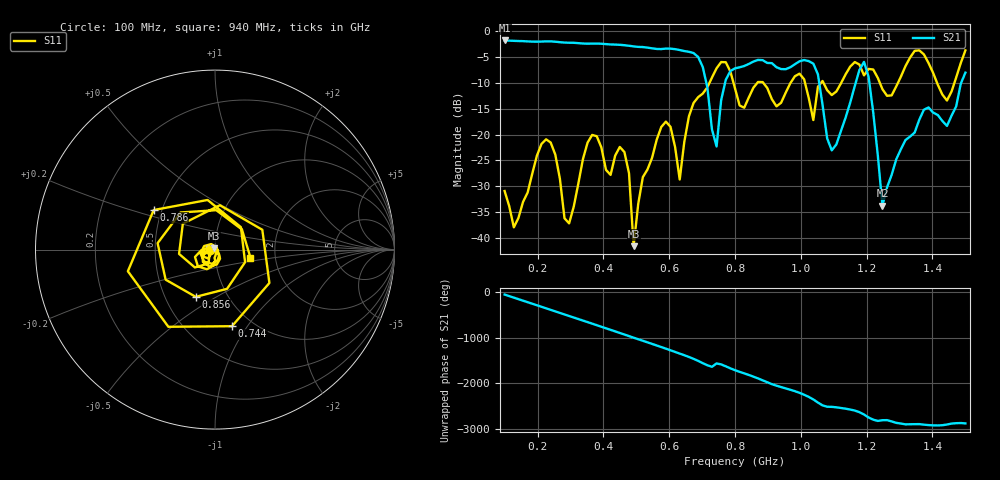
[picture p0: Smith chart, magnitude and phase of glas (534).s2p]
! NanoVNA-App
! Date: 2025-09-25 15:59:38
! Start: 100MHz Stop: 1,5GHz Points: 101
! S-Parameter data: F S11 S21 S12 S22
# Hz S RI R 50
!  Frequency  S11_Real  S11_Imag  S21_Real  S21_Imag  S12_Real  S12_Imag  S22_Real  S22_Imag
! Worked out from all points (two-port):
!   101 points, 100 MHz to 1.5 GHz, reference 50 ohm
!   highest |S21| = -1.80 dB at 100 MHz (marker M1); lowest = -33.8 dB at 1.248 GHz (marker M2)
!   |S21| within 3 dB of the highest: start of sweep to 684.5 MHz
!   lowest |S11| = -41.6 dB at 492 MHz (marker M3), VSWR 1.02, Z = 49.5 + j0.629 ohm
!   |S11| at or under -10 dB: start of sweep to 722.5 MHz; 795.4 MHz to 868 MHz (72.56 MHz wide, 8.72 % of centre); 885.9 MHz to 968.8 MHz (82.96 MHz wide, 8.95 % of centre) (the widest 3 of 7)
!   S12 and S22 are empty: the file has one direction only
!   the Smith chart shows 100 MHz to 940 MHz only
!   S11 on the Smith chart (normalised r, x): 100 MHz: 0.95, -0.01; 744 MHz: 0.81, -0.85; 786 MHz: 0.45, +0.24; 856 MHz: 0.71, -0.41; 940 MHz: 1.48, -0.14
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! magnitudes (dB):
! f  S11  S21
! 100 MHz  -30.9  -1.8
! 128 MHz  -38.0  -1.9
! 226 MHz  -20.9  -2.0
! 296 MHz  -37.2  -2.2
! 338 MHz  -24.8  -2.4
! 464 MHz  -23.4  -2.7
! 492 MHz  -41.6  -2.9
! 576 MHz  -18.5  -3.5
! 632 MHz  -28.7  -3.7
! 702 MHz  -12.1  -6.9
! 744 MHz  -7.2  -22.3
! 786 MHz  -7.8  -7.7
! 800 MHz  -11.1  -7.2
! 856 MHz  -10.9  -5.9
! 940 MHz  -13.9  -7.3
! 996 MHz  -8.2  -5.8
! 1.038 GHz  -17.2  -6.3
! 1.094 GHz  -12.4  -23.1
! 1.192 GHz  -8.6  -5.9
! 1.248 GHz  -11.2  -33.8
! 1.276 GHz  -12.4  -27.8
! 1.5 GHz  -3.7  -8.0
